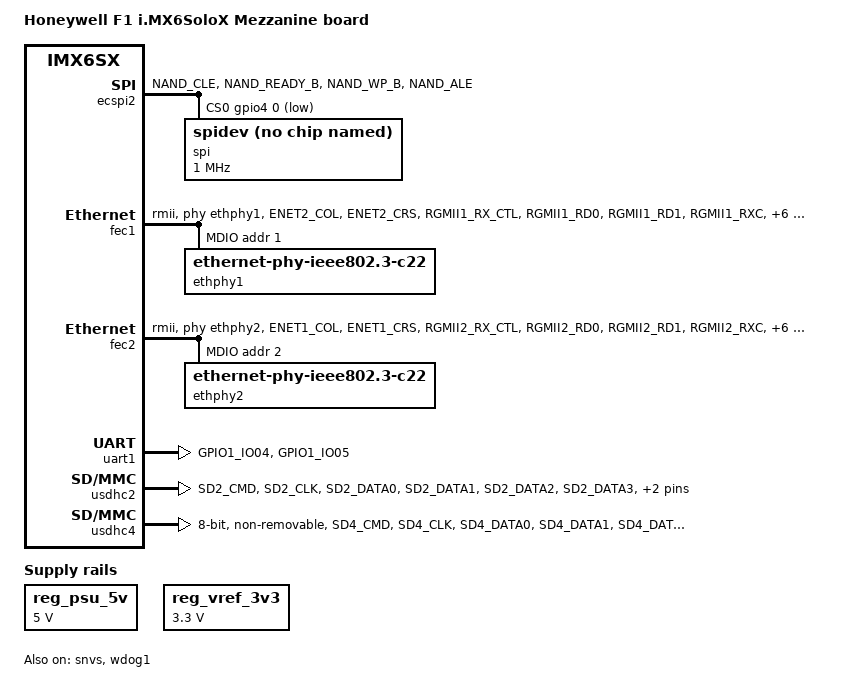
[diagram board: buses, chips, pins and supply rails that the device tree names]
/*
 * Copyright (C) 2014 Freescale Semiconductor, Inc.
 *
 * This program is free software; you can redistribute it and/or modify
 * it under the terms of the GNU General Public License version 2 as
 * published by the Free Software Foundation.
 */

/dts-v1/;

#include <dt-bindings/gpio/gpio.h>
#include <dt-bindings/input/input.h>
#include "imx6sx.dtsi"

/*
 * 0x10000 : Hysteresis
 *
 * 0x.x... : x even=no keeper, pullup, or pulldown
 *
 * 0x.3... : 100K Pulldown, keeper OFF
 * 0x.7... : 47K Pullup, keeper OFF
 * 0x.b... : 100K Pullup, keeper OFF
 * 0x.f... : 22K Pullup, keeper OFF
 *
 * 0x.1... : Keeper only
 * 0x.5... : keeper only
 * 0x.9... : keeper only
 * 0x.d... : keeper only
 *
 * 0x..8.. : Open drain
 *
 * NOTE: You need to look at the hardware DATASHEET to get correct info on
 *       what the following parameters do for a given CPU.
 *
 * 0x...00 : SPEED=00, DSE=000, SRE=0
 * 0x...08 : SPEED=00, DSE=001, SRE=0
 * 0x...10 : SPEED=00, DSE=010, SRE=0
 * 0x...18 : SPEED=00, DSE=011, SRE=0
 * 0x...20 : SPEED=00, DSE=100, SRE=0
 * 0x...28 : SPEED=00, DSE=101, SRE=0
 * 0x...30 : SPEED=00, DSE=110, SRE=0
 * 0x...38 : SPEED=00, DSE=111, SRE=0
 * 0x...40 : SPEED=01, DSE=000, SRE=0
 * 0x...48 : SPEED=01, DSE=001, SRE=0
 * 0x...50 : SPEED=01, DSE=010, SRE=0
 * 0x...58 : SPEED=01, DSE=011, SRE=0
 * 0x...60 : SPEED=01, DSE=100, SRE=0
 * 0x...68 : SPEED=01, DSE=101, SRE=0
 * 0x...70 : SPEED=01, DSE=110, SRE=0
 * 0x...78 : SPEED=01, DSE=111, SRE=0
 * 0x...80 : SPEED=10, DSE=000, SRE=0
 * 0x...88 : SPEED=10, DSE=001, SRE=0
 * 0x...90 : SPEED=10, DSE=010, SRE=0
 * 0x...98 : SPEED=10, DSE=011, SRE=0
 * 0x...A0 : SPEED=10, DSE=100, SRE=0
 * 0x...A8 : SPEED=10, DSE=101, SRE=0
 * 0x...B0 : SPEED=10, DSE=110, SRE=0
 * 0x...B8 : SPEED=10, DSE=111, SRE=0
 * 0x...C0 : SPEED=11, DSE=000, SRE=0
 * 0x...C8 : SPEED=11, DSE=001, SRE=0
 * 0x...D0 : SPEED=11, DSE=010, SRE=0
 * 0x...D8 : SPEED=11, DSE=011, SRE=0
 * 0x...E0 : SPEED=11, DSE=100, SRE=0
 * 0x...E8 : SPEED=11, DSE=101, SRE=0
 * 0x...F0 : SPEED=11, DSE=110, SRE=0
 * 0x...F8 : SPEED=11, DSE=111, SRE=0
 *
 * SRE is in bit 0
 *
 */
 
#define SD_PAD_50MHZ            0x17028
#define SD_CLK_PAD_50MHZ        0x10028
#define SD_PAD_100MHZ           0x170A8
#define SD_CLK_PAD_100MHZ       0x100A8
#define SD_PAD_200MHZ           0x170E9
#define SD_CLK_PAD_200MHZ       0x100E9

#define ENET_RX_PAD             0x1b0E9
#define ENET_TX_PAD             0x000E9
#define ENET_CLK_PAD            0x000E9

/*--------------------------------------------------------------------------*/
/* IOMUXC Pin Controls
 */
/*--------------------------------------------------------------------------*/

&iomuxc {
	pinctrl-names = "default";
	pinctrl-0 = <&pinctrl_misc>;

	pinctrl {
	        status = "okay";
	       
		pinctrl_misc: miscgrp {
			fsl,pins = <
			>;
		};
	
#if 0
		pinctrl_enet1: enet1grp {
			fsl,pins = <
                        	MX6SX_PAD_RGMII1_RX_CTL__ENET1_RX_EN   ENET_RX_PAD
                        	MX6SX_PAD_RGMII1_RXC__ENET1_RX_CLK     ENET_RX_PAD
                        	MX6SX_PAD_RGMII1_RD0__ENET1_RX_DATA_0  ENET_RX_PAD
                        	MX6SX_PAD_RGMII1_RD1__ENET1_RX_DATA_1  ENET_RX_PAD
                        	MX6SX_PAD_RGMII1_RD2__ENET1_RX_DATA_2  ENET_RX_PAD
                        	MX6SX_PAD_RGMII1_RD3__ENET1_RX_DATA_3  ENET_RX_PAD
                        	MX6SX_PAD_RGMII1_TX_CTL__ENET1_TX_EN   ENET_TX_PAD
                        	MX6SX_PAD_RGMII1_TXC__ENET1_RGMII_TXC  ENET_CLK_PAD
                        	MX6SX_PAD_RGMII1_TD0__ENET1_TX_DATA_0  ENET_TX_PAD
                        	MX6SX_PAD_RGMII1_TD1__ENET1_TX_DATA_1  ENET_TX_PAD
                        	MX6SX_PAD_RGMII1_TD2__ENET1_TX_DATA_2  ENET_TX_PAD
                        	MX6SX_PAD_RGMII1_TD3__ENET1_TX_DATA_3  ENET_TX_PAD
				
			>;
		};
#endif

		pinctrl_enet1_1: enet1grp-1 {
			fsl,pins = <
				MX6SX_PAD_ENET2_COL__ENET1_MDC        	0xa089 
				MX6SX_PAD_ENET2_CRS__ENET1_MDIO        	0xa089 
				MX6SX_PAD_RGMII1_RX_CTL__ENET1_RX_EN   	0xb099
				MX6SX_PAD_RGMII1_RD0__ENET1_RX_DATA_0   0xb099
				MX6SX_PAD_RGMII1_RD1__ENET1_RX_DATA_1   0xb099
				MX6SX_PAD_RGMII1_RXC__ENET1_RX_ER 	0xb099
				MX6SX_PAD_RGMII1_TX_CTL__ENET1_TX_EN	0xb099
				MX6SX_PAD_RGMII1_TD0__ENET1_TX_DATA_0   0xb099
				MX6SX_PAD_RGMII1_TD1__ENET1_TX_DATA_1   0xb099
				MX6SX_PAD_ENET1_RX_CLK__GPIO2_IO_4 	0xb099
				MX6SX_PAD_ENET1_TX_CLK__ENET1_REF_CLK1  0x4000b099 	
				
			>;
		};

				pinctrl_enet2_1: enet2grp-1{
			fsl,pins = <
				//MX6SX_PAD_ENET1_MDIO__ENET2_MDIO        0xa089 
				//MX6SX_PAD_ENET1_MDC__ENET2_MDC          0xa089
				MX6SX_PAD_ENET1_COL__ENET2_MDC          0xa089 
				MX6SX_PAD_ENET1_CRS__ENET2_MDIO         0xa089
				MX6SX_PAD_RGMII2_RX_CTL__ENET2_RX_EN    0xb099
				MX6SX_PAD_RGMII2_RD0__ENET2_RX_DATA_0   0xb099
				MX6SX_PAD_RGMII2_RD1__ENET2_RX_DATA_1   0xb099
                		MX6SX_PAD_RGMII2_RXC__ENET2_RX_ER       0xb099
				MX6SX_PAD_RGMII2_TX_CTL__ENET2_TX_EN    0xb099
				MX6SX_PAD_RGMII2_TD0__ENET2_TX_DATA_0   0xb099 
				MX6SX_PAD_RGMII2_TD1__ENET2_TX_DATA_1   0xb099
				//MX6SX_PAD_ENET2_RX_CLK__GPIO2_IO_8       0xb099
				MX6SX_PAD_ENET1_MDC__GPIO2_IO_2       0xb099   
                		MX6SX_PAD_ENET2_TX_CLK__ENET2_REF_CLK2  0x4000b099 
                >;
		};


#if 0		
		pinctrl_i2c1: i2c1grp {
			fsl,pins = <
				MX6SX_PAD_GPIO1_IO01__I2C1_SDA		0x4001b8b1
				MX6SX_PAD_GPIO1_IO00__I2C1_SCL		0x4001b8b1
			>;
		};
#endif

#if 0
		pinctrl_i2c2: i2c2grp {
			fsl,pins = <
				MX6SX_PAD_QSPI1B_DATA2__I2C2_SDA        0x4001b8b1                          
				MX6SX_PAD_QSPI1B_DATA3__I2C2_SCL        0x4001b8b1
			>;
		};
#endif

#if 0
		pinctrl_uart2: uart2grp {// J7 for modbus 485
			fsl,pins = <
				MX6SX_PAD_GPIO1_IO06__UART2_TX		0x1b0b1
				MX6SX_PAD_GPIO1_IO07__UART2_RX		0x1b0b1
			>;
		};
#endif

		/* Console UART */
                
		pinctrl_uart3: uart3grp {
			fsl,pins = <
				MX6SX_PAD_SD3_DATA5__UART3_TX		0x1b0b1
				MX6SX_PAD_SD3_DATA4__UART3_RX		0x1b0b1
			>;
		};

                pinctrl_uart1: uart1grp
                {
                        fsl,pins =
                        <
                                MX6SX_PAD_GPIO1_IO04__UART1_TX          0x1b0b1
                                MX6SX_PAD_GPIO1_IO05__UART1_RX          0x1b0b1
                        >;
                };


                /* ecspi2 to phy/switch chip */

		pinctrl_ecspi2: ecspi2grp {
			fsl,pins = <
				MX6SX_PAD_NAND_CLE__ECSPI2_SCLK	        0x1b0b9
				MX6SX_PAD_NAND_READY_B__ECSPI2_MISO	0x1b0b9
				MX6SX_PAD_NAND_WP_B__ECSPI2_MOSI        0x1b0b9
				MX6SX_PAD_NAND_ALE__GPIO4_IO_0          0x0b0b9
			>;
		};

#if 0
		pinctrl_ecspi5: ecspi5grp {
			fsl,pins = <
				MX6SX_PAD_QSPI1A_DQS__ECSPI5_MOSI	0x1b0b9     //0x1b089//QSPI1A_DQS
				MX6SX_PAD_QSPI1A_SS1_B__ECSPI5_MISO	0x1b0b9     //QSPI1A_SS1_B
				MX6SX_PAD_QSPI1B_SS1_B__ECSPI5_SCLK     0x1b0b9     //0x1b089//QSPI1B_SS1_B
				MX6SX_PAD_QSPI1B_DQS__ECSPI5_SS0        0x0b0b9     //0x0b089//QSPI1B_DQS
			>;
		};
#endif

		pinctrl_usdhc2: usdhc2grp {
			fsl,pins = <
				MX6SX_PAD_SD2_CMD__USDHC2_CMD		0x17059
				MX6SX_PAD_SD2_CLK__USDHC2_CLK		0x170f9
				MX6SX_PAD_SD2_DATA0__USDHC2_DATA0	0x17059
				MX6SX_PAD_SD2_DATA1__USDHC2_DATA1	0x17059
				MX6SX_PAD_SD2_DATA2__USDHC2_DATA2	0x17059
				MX6SX_PAD_SD2_DATA3__USDHC2_DATA3	0x17059
				MX6SX_PAD_LCD1_RESET__GPIO3_IO_27	0x1b0b0
			>;
		};

		pinctrl_usdhc4: usdhc4grp {
			fsl,pins = <
				MX6SX_PAD_SD4_CMD__USDHC4_CMD		0x170D1
				MX6SX_PAD_SD4_CLK__USDHC4_CLK		0x100f9
				MX6SX_PAD_SD4_DATA0__USDHC4_DATA0	0x170D1
				MX6SX_PAD_SD4_DATA1__USDHC4_DATA1	0x170D1
				MX6SX_PAD_SD4_DATA2__USDHC4_DATA2	0x170D1
				MX6SX_PAD_SD4_DATA3__USDHC4_DATA3	0x170D1
				MX6SX_PAD_SD4_DATA4__USDHC4_DATA4	0x170D1
				MX6SX_PAD_SD4_DATA5__USDHC4_DATA5	0x170D1
				MX6SX_PAD_SD4_DATA6__USDHC4_DATA6	0x170D1
				MX6SX_PAD_SD4_DATA7__USDHC4_DATA7	0x170D1
				MX6SX_PAD_SD4_RESET_B__USDHC4_RESET_B	0x170D1
			>;
		};

#if 0
		
		pinctrl_usdhc4_1_100mhz: usdhc4grp-1-100mhz {
			fsl,pins = <
				MX6SX_PAD_SD4_CMD__USDHC4_CMD		0x170b9
				MX6SX_PAD_SD4_CLK__USDHC4_CLK		0x100b9
				MX6SX_PAD_SD4_DATA0__USDHC4_DATA0	0x170b9
				MX6SX_PAD_SD4_DATA1__USDHC4_DATA1	0x170b9
				MX6SX_PAD_SD4_DATA2__USDHC4_DATA2	0x170b9
				MX6SX_PAD_SD4_DATA3__USDHC4_DATA3	0x170b9
				MX6SX_PAD_SD4_DATA4__USDHC4_DATA4	0x170b9
				MX6SX_PAD_SD4_DATA5__USDHC4_DATA5	0x170b9
				MX6SX_PAD_SD4_DATA6__USDHC4_DATA6	0x170b9
				MX6SX_PAD_SD4_DATA7__USDHC4_DATA7	0x170b9
			>;
		};
		
		pinctrl_usdhc4_1_200mhz: usdhc4grp-1-200mhz {
			fsl,pins = <
				MX6SX_PAD_SD4_CMD__USDHC4_CMD		0x170f9
				MX6SX_PAD_SD4_CLK__USDHC4_CLK		0x100f9
				MX6SX_PAD_SD4_DATA0__USDHC4_DATA0	0x170f9
				MX6SX_PAD_SD4_DATA1__USDHC4_DATA1	0x170f9
				MX6SX_PAD_SD4_DATA2__USDHC4_DATA2	0x170f9
				MX6SX_PAD_SD4_DATA3__USDHC4_DATA3	0x170f9
				MX6SX_PAD_SD4_DATA4__USDHC4_DATA4	0x170f9
				MX6SX_PAD_SD4_DATA5__USDHC4_DATA5	0x170f9
				MX6SX_PAD_SD4_DATA6__USDHC4_DATA6	0x170f9
				MX6SX_PAD_SD4_DATA7__USDHC4_DATA7	0x170f9
			>;
		};
		
#endif
		
	};
};

&ecspi2 {
	fsl,spi-num-chipselects = <1>;
	cs-gpios = <&gpio4 0 GPIO_ACTIVE_LOW>;
	pinctrl-names = "default";
	pinctrl-0 = <&pinctrl_ecspi2>;
	status = "okay";
        spi@0 {
		compatible = "spidev";
		reg = <0>;
		spi-max-frequency = <1000000>;
	};

#if 0
	flash: m25p80@0 {
		compatible = "microchip,sst25vf016b";
		spi-max-frequency = <20000000>;
		reg = <0>;
		#address-cells = <1>;
		#size-cells = <1>;

		partition@0 {
			label = "U-Boot";
			reg = <0x0 0xc0000>;
			read-only;
		};

		partition@c0000 {
			label = "env";
			reg = <0xc0000 0x2000>;
			read-only;
		};

		partition@c2000 {
			label = "Kernel";
			reg = <0xc2000 0x11e000>;
		};

		partition@1e0000 {
			label = "M4";
			reg = <0x1e0000 0x20000>;
		};
		
	};
	
#endif

};

#if 0
&fec1 {
	pinctrl-names = "default";
	pinctrl-0 = <&pinctrl_enet1>;
	phy-mode = "rgmii";
//	phy-handle = <&ethphy1>;
//	phy-reset-gpios = <&gpio2 8 1>; 
//	phy-reset-active-high;
//	phy-reset-duration = <20>;  // Milliseconds
   	local-mac-address = [00 04 9F 01 1B 58];
	status = "okay";

        fixed-link {
	        speed = <1000>;
		full-duplex;
	};
	
};
#endif

&fec1 {
	pinctrl-names = "default";
	pinctrl-0 = <&pinctrl_enet1_1>;
	phy-mode = "rmii";
	phy-handle = <&ethphy1>;
	phy-reset-gpios = <&gpio2 4 1>; 
	phy-reset-duration =<20>;
   	local-mac-address = [00 04 9F 01 1B 58];
	status = "okay";
	
	mdio {
		#address-cells = <1>;
		#size-cells = <0>;

		ethphy1: ethernet-phy@1 {
			compatible = "ethernet-phy-ieee802.3-c22";
			reg = <1>;
		};
			
	};
        
	
};

&fec2 {
	pinctrl-names = "default";
	pinctrl-0 = <&pinctrl_enet2_1>;
	phy-mode = "rmii";
	phy-handle = <&ethphy2>;  	
	phy-reset-gpios = <&gpio2 8 1>; 
	phy-reset-duration =<20>;
   	local-mac-address = [00 04 9F 01 1B 68];
	status = "okay";
       
	mdio {
		#address-cells = <1>;
		#size-cells = <0>;

		
		ethphy2: ethernet-phy@2 {
			compatible = "ethernet-phy-ieee802.3-c22";
			reg = <2>;
		};

		
	};
	
};


#if 0

&i2c1 {
	clock-frequency = <100000>;
        pinctrl-names = "default";
        pinctrl-0 = <&pinctrl_i2c1>;
        status = "okay";
	m41t11: m41t11@68 {  
		compatible = "st,m41t11"; 
		reg = <0x68>;
            	status = "okay"; 
	};

	tca6416: tca6416@21 {
		compatible = "ti,tca6416";
		reg = <0x21>;
		#gpio-cells = <2>;
		gpio-controller;
	};

	tca6416siren: tca6416@20 {
		compatible = "ti,tca6416";
		reg = <0x20>;
		#gpio-cells = <2>;
		gpio-controller;
	};

	codec: nau8822@1a {
		compatible = "wlf,nau8822";
		reg = <0x1a>;
		clocks = <&clks IMX6SX_CLK_AUDIO>;
	};
};

#endif

#if 0

&i2c2 {
	clock-frequency = <100000>;
        pinctrl-names = "default";
        pinctrl-0 = <&pinctrl_i2c2>;
	status = "okay";

	at24@52 {
		compatible = "at24,24c32";
		pagesize = <32>;
		reg = <0x52>;
	};

	tca6416power: tca6416@20 {
		compatible = "ti,tca6416";
		reg = <0x20>;
		#gpio-cells = <2>;
		gpio-controller;
	};

	/*Hi253@20 {
		compatible = "Hi253,Hi253";
		reg = <0x20>;
		pinctrl-names = "default";
                pinctrl-0 = <&pinctrl_csi_0>;
                clocks = <&clks IMX6SX_CLK_CSI>;
                clock-names = "csi_mclk";
                pwn-gpios = <&gpio3 18 1>;
                rst-gpios = <&gpio3 17 0>;

                cam18v-en-gpios = <&gpio3 3 0>;
                cam28v-en-gpios = <&gpio3 4 0>;

                csi_id = <0>;
                mclk = <19000000>;
                mclk_source = <0>;
                port {
                        hi253_ep: endpoint {
                                remote-endpoint = <&csi1_ep>;
                        };
                };
	};*/
	
};

#endif

&ocram {
	reg = <0x00901000 0xf000>;
};

&clks {
	fsl,shared-clks-number = <0x23>;//<0x1A>;
	fsl,shared-clks-index = <IMX6SX_CLK_PLL2_BUS IMX6SX_CLK_PLL2_PFD0
			IMX6SX_CLK_PLL2_PFD2 IMX6SX_CLK_PLL3_USB_OTG
			IMX6SX_CLK_PLL3_PFD1 IMX6SX_CLK_PLL3_PFD2
			IMX6SX_CLK_PLL3_PFD3 IMX6SX_CLK_PLL4_AUDIO
			IMX6SX_CLK_PLL5_VIDEO
			IMX6SX_CLK_OCRAM IMX6SX_CLK_CAN1_SERIAL
			IMX6SX_CLK_CAN1_IPG IMX6SX_CLK_CAN2_SERIAL
			IMX6SX_CLK_CAN2_IPG IMX6SX_CLK_CANFD
			IMX6SX_CLK_ECSPI1 IMX6SX_CLK_ECSPI2
			IMX6SX_CLK_ECSPI3 IMX6SX_CLK_ECSPI4
			IMX6SX_CLK_ECSPI5 IMX6SX_CLK_QSPI1
			IMX6SX_CLK_QSPI2 IMX6SX_CLK_SSI1
			IMX6SX_CLK_SSI2 IMX6SX_CLK_SSI3
			IMX6SX_CLK_UART_SERIAL IMX6SX_CLK_UART_IPG
			IMX6SX_CLK_PERIPH_CLK2_SEL IMX6SX_CLK_DUMMY
			IMX6SX_CLK_I2C1 IMX6SX_CLK_I2C2
			IMX6SX_CLK_I2C3 IMX6SX_CLK_I2C4
			IMX6SX_CLK_EPIT1 IMX6SX_CLK_EPIT2>;
	fsl,shared-mem-addr = <0x91F000>;
	fsl,shared-mem-size = <0x1000>;
};

&snvs{
	status = "okay";
};

#if 0

&uart2 {
	pinctrl-names = "default";
	pinctrl-0 = <&pinctrl_uart2>;
	status = "okay";
};

#endif

&uart1 {
	pinctrl-names = "default";
	pinctrl-0 = <&pinctrl_uart1>;
	status = "okay";
};

&usdhc2 {
	pinctrl-names = "default";
	pinctrl-0 = <&pinctrl_usdhc2>;
	cd-gpios = <&gpio3 27 GPIO_ACTIVE_LOW>;
	no-1-8-v;
	keep-power-in-suspend;
	enable-sdio-wakeup;
	status = "okay";
};

&usdhc4 {
	pinctrl-names = "default";
	pinctrl-0 = <&pinctrl_usdhc4>;
	bus-width = <8>;
	non-removable;
	no-1-8-v;
	keep-power-in-suspend;
	enable-sdio-wakeup;
	status = "okay";
};

/* Override the watchdog driver type
 */
&wdog1 {
        compatible = "f1-mx6sx-wdt";
        status = "okay";
};

/ {
	model = "Honeywell F1 i.MX6SoloX Mezzanine board";
	compatible = "f1-mezz1", "fsl,imx6sx";

        /* NOTE: It's not obvious, but (sometimes) the device tree system
         *       adopts the number of an alias as the number of the device.
         *       Otherwise, devices are assigned numbers sequentially
         */
	aliases {
		mmc1 = &usdhc2;
		mmc3 = &usdhc4;
        };
	
	chosen {
		stdout-path = &uart1;
	};

	memory {
		linux,usable-memory = <0x80000000 0x20000000>;
	};
	
	regulators {
		compatible = "simple-bus";
		#address-cells = <1>;
		#size-cells = <0>;

		reg_psu_5v: regulator@3 {
			compatible = "regulator-fixed";
			reg = <3>;
			regulator-name = "PSU-5V0";
			regulator-min-microvolt = <5000000>;
			regulator-max-microvolt = <5000000>;
		};

		reg_vref_3v3: regulator@7 {
			compatible = "regulator-fixed";
			reg = <7>;
			regulator-name = "vref-3v3";
			regulator-min-microvolt = <3300000>;
			regulator-max-microvolt = <3300000>;
		};

	};

};

